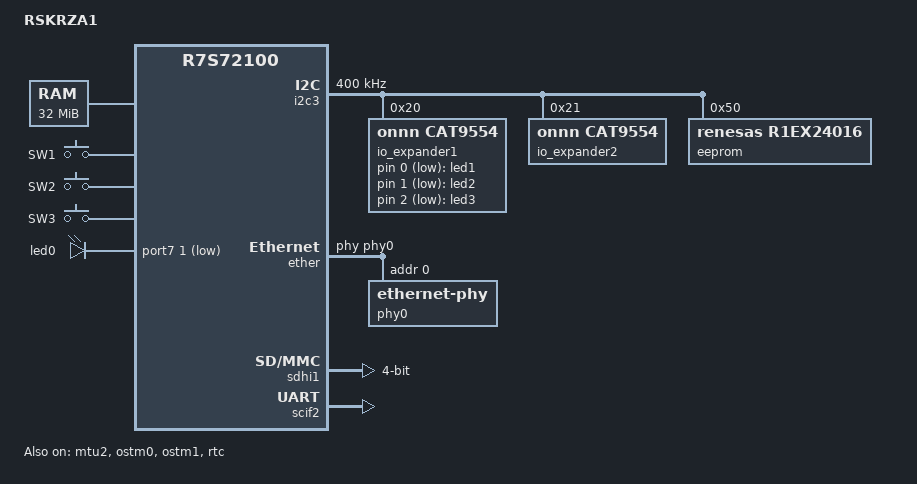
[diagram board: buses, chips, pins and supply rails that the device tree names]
// SPDX-License-Identifier: GPL-2.0
/*
 * Device Tree Source for the RZ/A1H RSK board
 *
 * Copyright (C) 2016 Renesas Electronics
 */

/dts-v1/;
#include "r7s72100.dtsi"
#include <dt-bindings/gpio/gpio.h>
#include <dt-bindings/input/input.h>
#include <dt-bindings/pinctrl/r7s72100-pinctrl.h>

/ {
	model = "RSKRZA1";
	compatible = "renesas,rskrza1", "renesas,r7s72100";

	aliases {
		serial0 = &scif2;
	};

	chosen {
		bootargs = "ignore_loglevel";
		stdout-path = "serial0:115200n8";
	};

	memory@8000000 {
		device_type = "memory";
		reg = <0x08000000 0x02000000>;
	};

	keyboard {
		compatible = "gpio-keys";

		pinctrl-names = "default";
		pinctrl-0 = <&keyboard_pins>;

		key-1 {
			interrupt-parent = <&irqc>;
			interrupts = <3 IRQ_TYPE_EDGE_BOTH>;
			linux,code = <KEY_1>;
			label = "SW1";
			wakeup-source;
		};

		key-2 {
			interrupt-parent = <&irqc>;
			interrupts = <2 IRQ_TYPE_EDGE_BOTH>;
			linux,code = <KEY_2>;
			label = "SW2";
			wakeup-source;
		};

		key-3 {
			interrupt-parent = <&irqc>;
			interrupts = <5 IRQ_TYPE_EDGE_BOTH>;
			linux,code = <KEY_3>;
			label = "SW3";
			wakeup-source;
		};
	};

	lbsc {
		#address-cells = <1>;
		#size-cells = <1>;
	};

	leds {
		compatible = "gpio-leds";

		led0 {
			gpios = <&port7 1 GPIO_ACTIVE_LOW>;
		};

		led1 {
			gpios = <&io_expander1 0 GPIO_ACTIVE_LOW>;
		};

		led2 {
			gpios = <&io_expander1 1 GPIO_ACTIVE_LOW>;
		};

		led3 {
			gpios = <&io_expander1 2 GPIO_ACTIVE_LOW>;
		};
	};
};

&extal_clk {
	clock-frequency = <13330000>;
};

&i2c3 {
	pinctrl-names = "default";
	pinctrl-0 = <&i2c3_pins>;
	status = "okay";

	clock-frequency = <400000>;

	io_expander1: gpio@20 {
		compatible = "onnn,cat9554";
		reg = <0x20>;
		gpio-controller;
		#gpio-cells = <2>;
	};

	io_expander2: gpio@21 {
		compatible = "onnn,cat9554";
		reg = <0x21>;
		gpio-controller;
		#gpio-cells = <2>;
	};

	eeprom@50 {
		compatible = "renesas,r1ex24016", "atmel,24c16";
		reg = <0x50>;
		pagesize = <16>;
	};
};

&usb_x1_clk {
	clock-frequency = <48000000>;
};

&rtc_x1_clk {
	clock-frequency = <32768>;
};

&pinctrl {
	/* RIIC ch3 (Port Expander, EEPROM (MAC Addr), Audio Codec) */
	i2c3_pins: i2c3 {
		pinmux = <RZA1_PINMUX(1, 6, 1)>,	/* RIIC3SCL */
			 <RZA1_PINMUX(1, 7, 1)>;	/* RIIC3SDA */
	};

	keyboard_pins: keyboard {
		pinmux = <RZA1_PINMUX(1, 9, 3)>,	/* IRQ3 */
			 <RZA1_PINMUX(1, 8, 3)>,	/* IRQ2 */
			 <RZA1_PINMUX(1, 11, 3)>;	/* IRQ5 */
	};

	/* Serial Console */
	scif2_pins: serial2 {
		pinmux = <RZA1_PINMUX(3, 0, 6)>,	/* TxD2 */
			 <RZA1_PINMUX(3, 2, 4)>;	/* RxD2 */
	};

	/* Ethernet */
	ether_pins: ether {
		/* Ethernet on Ports 1,2,3,5 */
		pinmux = <RZA1_PINMUX(1, 14, 4)>,	/* ET_COL   */
			 <RZA1_PINMUX(5, 9, 2)>,	/* ET_MDC   */
			 <RZA1_PINMUX(3, 3, 2)>,	/* ET_MDIO  */
			 <RZA1_PINMUX(3, 4, 2)>,	/* ET_RXCLK */
			 <RZA1_PINMUX(3, 5, 2)>,	/* ET_RXER  */
			 <RZA1_PINMUX(3, 6, 2)>,	/* ET_RXDV  */
			 <RZA1_PINMUX(2, 0, 2)>,	/* ET_TXCLK */
			 <RZA1_PINMUX(2, 1, 2)>,	/* ET_TXER  */
			 <RZA1_PINMUX(2, 2, 2)>,	/* ET_TXEN  */
			 <RZA1_PINMUX(2, 3, 2)>,	/* ET_CRS   */
			 <RZA1_PINMUX(2, 4, 2)>,	/* ET_TXD0  */
			 <RZA1_PINMUX(2, 5, 2)>,	/* ET_TXD1  */
			 <RZA1_PINMUX(2, 6, 2)>,	/* ET_TXD2  */
			 <RZA1_PINMUX(2, 7, 2)>,	/* ET_TXD3  */
			 <RZA1_PINMUX(2, 8, 2)>,	/* ET_RXD0  */
			 <RZA1_PINMUX(2, 9, 2)>,	/* ET_RXD1  */
			 <RZA1_PINMUX(2, 10, 2)>,	/* ET_RXD2  */
			 <RZA1_PINMUX(2, 11, 2)>;	/* ET_RXD3  */
	};

	/* SDHI ch1 on CN1 */
	sdhi1_pins: sdhi1 {
		pinmux = <RZA1_PINMUX(3, 8, 7)>,	/* SD_CD_1 */
			 <RZA1_PINMUX(3, 9, 7)>,	/* SD_WP_1 */
			 <RZA1_PINMUX(3, 10, 7)>,	/* SD_D1_1 */
			 <RZA1_PINMUX(3, 11, 7)>,	/* SD_D0_1 */
			 <RZA1_PINMUX(3, 12, 7)>,	/* SD_CLK_1 */
			 <RZA1_PINMUX(3, 13, 7)>,	/* SD_CMD_1 */
			 <RZA1_PINMUX(3, 14, 7)>,	/* SD_D3_1 */
			 <RZA1_PINMUX(3, 15, 7)>;	/* SD_D2_1 */
	};
};

&mtu2 {
	status = "okay";
};

&ether {
	pinctrl-names = "default";
	pinctrl-0 = <&ether_pins>;
	status = "okay";
	renesas,no-ether-link;
	phy-handle = <&phy0>;
	phy0: ethernet-phy@0 {
		reg = <0>;
	};
};

&sdhi1 {
	pinctrl-names = "default";
	pinctrl-0 = <&sdhi1_pins>;
	bus-width = <4>;
	status = "okay";
};

&ostm0 {
	status = "okay";
};

&ostm1 {
	status = "okay";
};

&rtc {
	status = "okay";
};

&scif2 {
	pinctrl-names = "default";
	pinctrl-0 = <&scif2_pins>;
	status = "okay";
};
